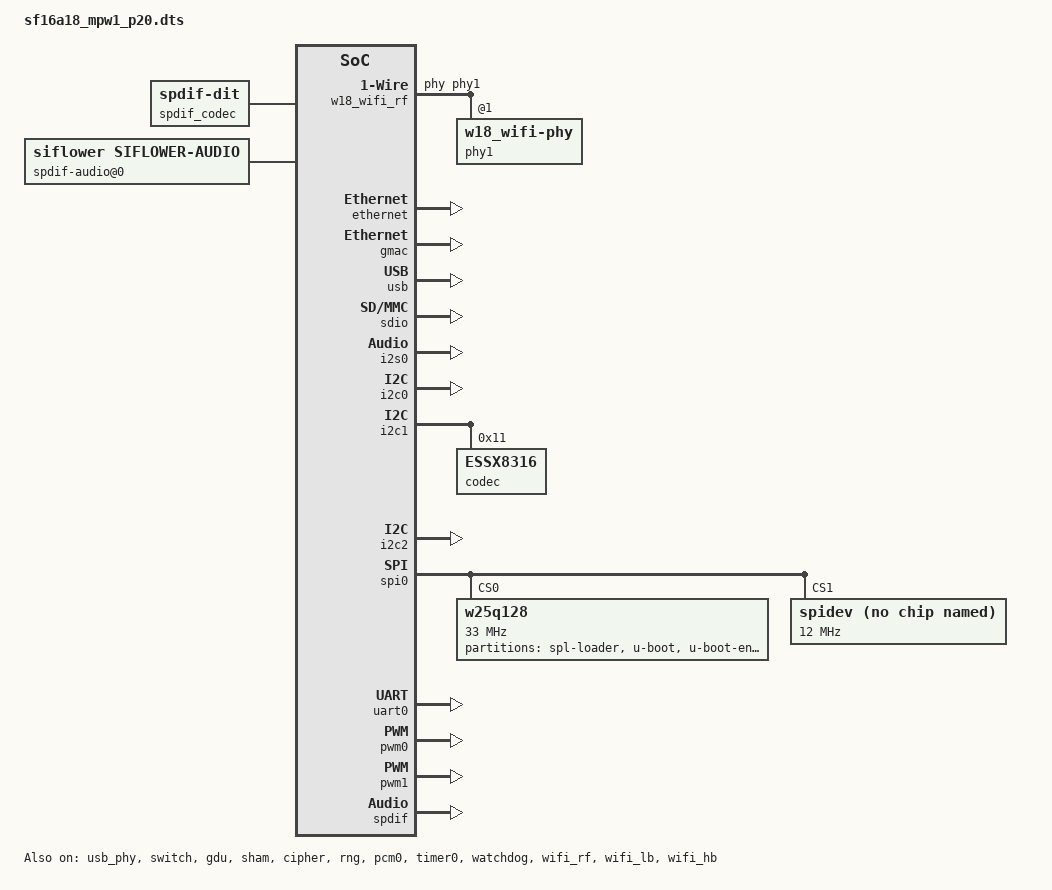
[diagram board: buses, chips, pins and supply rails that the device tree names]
/dts-v1/;

#include "sf16a18_mpw1.dtsi"
#include "sf16a18-thermal.dtsi"

/ {
	#address-cells = <1>;
	#size-cells = <1>;
	compatible = "siflower,sf16a18-soc";

	spdif_codec: spdif-codec@0 {
		compatible = "linux,spdif-dit";
	};

	w18_wifi_rf: w18_wifi-rf@7A00000{
		compatible = "siflower,pistachio-uccp";
		phy = <&phy1>;
		#address-cells = <1>;
		#size-cells = <0>;
		phy1: w18_wifi-phy@1 {
			reg = <1>;
			max-speed = <100>;
		};
	};

	spdif-audio@0 {
		compatible = "siflower,siflower-audio";
		model = "Siflower Spdif Audio";
		audio-controller = <&spdif>;
		audio-codec = <&spdif_codec>;
		audio-out;
	};

};

&usb_phy{
	status = "okay";
};

&ethernet {
	status = "okay";
};

&switch{
	status = "okay";
};

&gmac {
	status = "okay";
};

&gdu {
	status = "okay";
	num-windows = <2>;
	rgb_order = <0 1 2>;
	power_gpio = <26 37>;
	bpp-mode = "RGB888";

	display-timings {
		native-mode = <&timing0>;
		timing0: gm05004001q {
			clock-frequency = <34539600>;
			hactive = <800>;
			vactive = <480>;
			hback-porch = <46>;
			hfront-porch = <210>;
			vback-porch = <23>;
			vfront-porch = <22>;
			hsync-len = <20>;
			vsync-len = <10>;
		};
	};
};

&sham {
	status = "okay";
};

&cipher {
	status = "okay";
};

&rng {
	status = "okay";
};

&gdma {
	status = "okay";
};

&usb {
	status = "okay";
};

&emmc {
	status = "disabled";
};

&sdio {
	status = "okay";
};

&i2s0 {
	status = "okay";
};

&i2c0 {
	status = "okay";
	#address-cells = <1>;
	#size-cells = <0>;
	/include/	"sf16a18_pmu.dtsi"
};

&i2c1 {
	status = "okay";
	#address-cells = <1>;
	#size-cells = <0>;
/*
	codec: es8388s@11{
		compatible = "ambarella,es8388s";
		reg = <0x11>;
	};
*/
	codec: es8316@11{
		compatible = "ESSX8316";
		reg = <0x11>;
	};
};

&i2c2 {
	status = "okay";
};

&spi0 {
	status = "okay";
	//use-dma;
	dmas = <&gdma 10
	&gdma 11>;
	dma-names = "tx", "rx";

	#address-cells = <1>;
	#size-cells = <0>;

	w25q128@0 {
		compatible = "w25q128";
		reg = <0>;	/* chip select */
		spi-max-frequency = <33000000>;

		bank-width = <2>;
		device-width = <2>;
		#address-cells = <1>;
		#size-cells = <1>;

		partition@0 {
			label = "spl-loader";
			reg = <0x0 0x20000>; /* 128k */
			read-only;
		};

		partition@20000 {
			label = "u-boot";
			reg = <0x20000 0x60000>; /* 384k */
		};

		partition@80000 {
			label = "u-boot-env";
			reg = <0x80000 0x10000>; /* 64k */
		};

		factory:partition@90000 {
			label = "factory";
			reg = <0x90000 0x10000>; /* 64k */
		};

		partition@a0000 {
			label = "firmware";
			reg = <0xa0000 0xf60000>; /* 640k-16M */
		};
	};

	spidev: spi@8200000 {
		compatible = "rohm,dh2228fv";
		reg = <1>;
		clock = <50000000>;
		spi-cpha;
		spi-cpol;
		spi-max-frequency=<12000000>;
	};
};

&uart0 {
	status = "okay";
};

&uart1 {
	status = "disabled";
};

&uart2 {
	status = "disabled";
};

&uart3 {
	status = "disabled";
};

&pcm0 {
	status = "okay";
};

&pwm0 {
	status = "okay";
};

&pwm1 {
	status = "okay";
};

&timer0 {
	status = "okay";
};

&watchdog {
	status = "okay";
};

&spdif
{
	status = "okay";
};

&wifi_rf {
	status = "okay";
};

&wifi_lb {
	status = "okay";
};

&wifi_hb {
	status = "okay";
};
